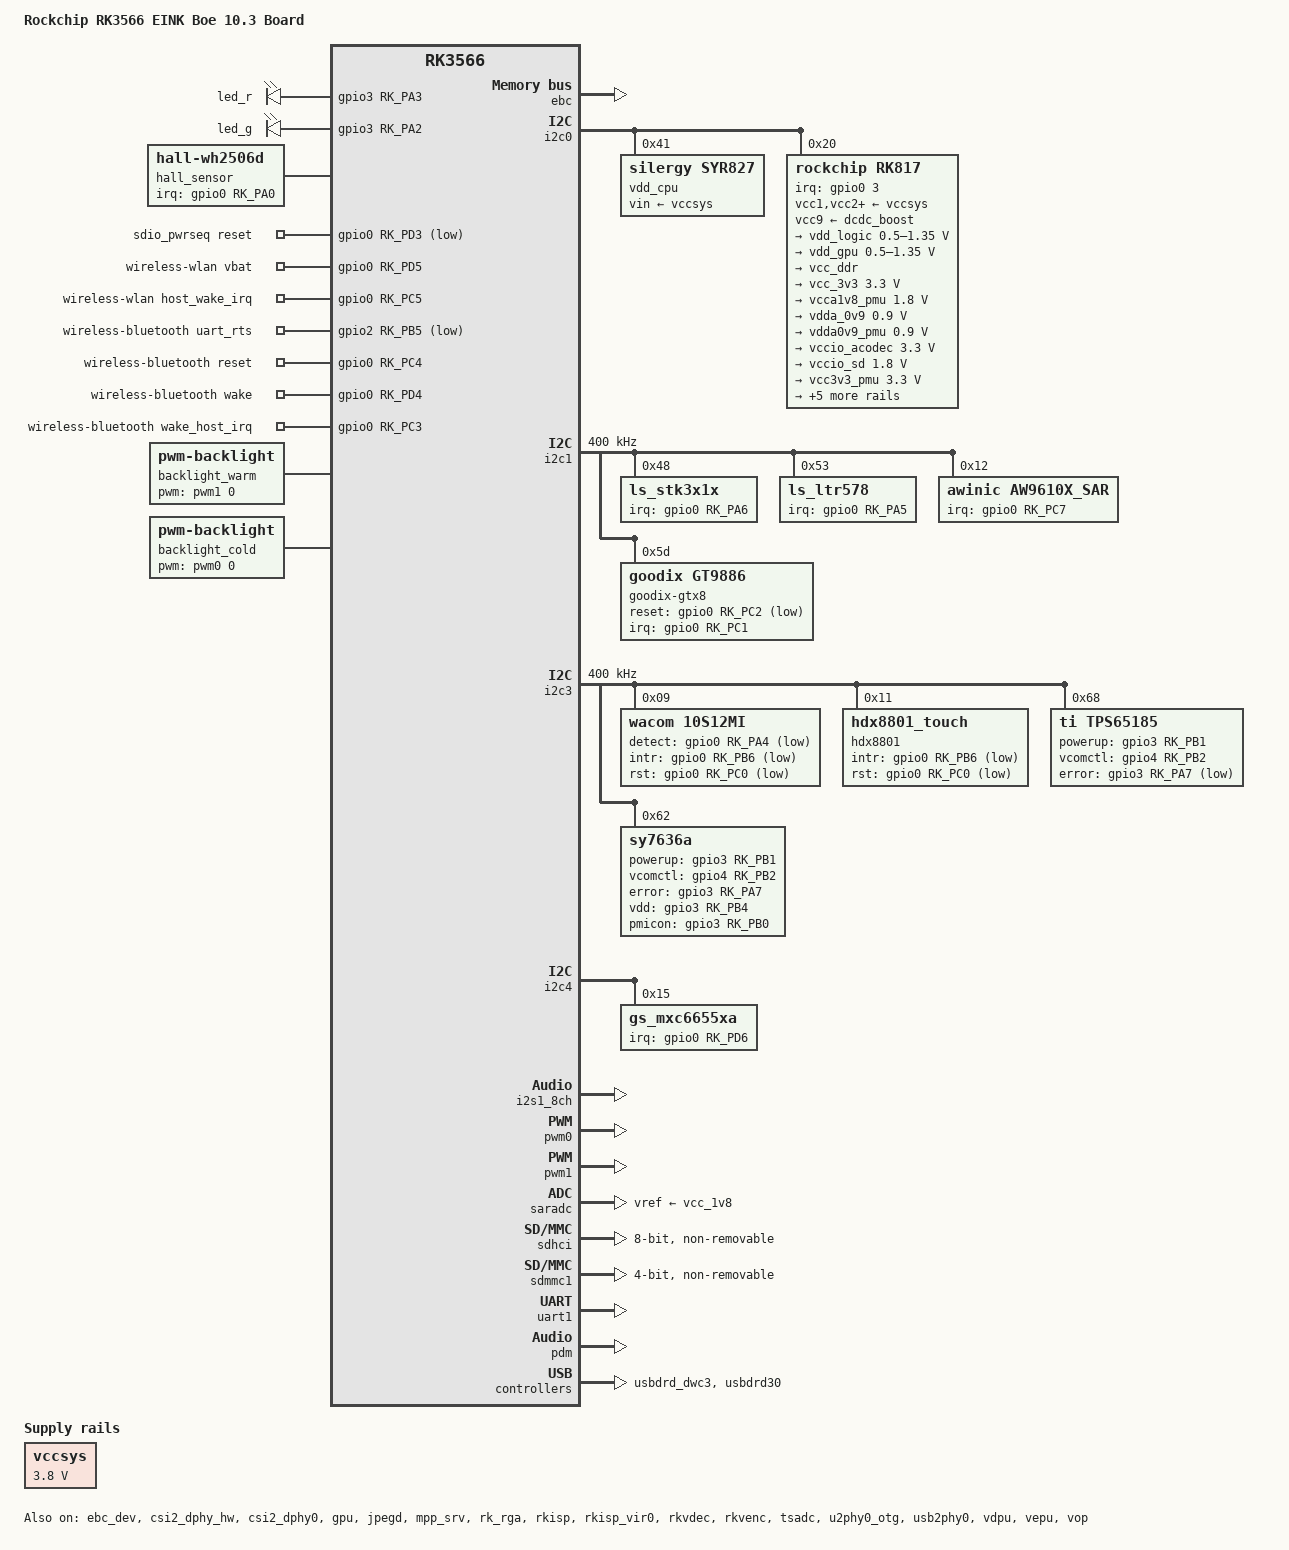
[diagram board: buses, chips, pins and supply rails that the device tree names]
// SPDX-License-Identifier: (GPL-2.0+ OR MIT)
/*
 * Copyright (c) 2020 Rockchip Electronics Co., Ltd.
 *
 */

/dts-v1/;

#include <dt-bindings/gpio/gpio.h>
#include <dt-bindings/pinctrl/rockchip.h>
#include <dt-bindings/input/rk-input.h>
#include <dt-bindings/sensor-dev.h>
#include <dt-bindings/display/drm_mipi_dsi.h>
#include <dt-bindings/usb/pd.h>
#include "rk3566.dtsi"
#include "rk3568-android.dtsi"
#include "rk3566-eink.dtsi"

/ {
    model = "Rockchip RK3566 EINK Boe 10.3 Board";
    compatible = "rockchip,rk3566-rk817-eink", "rockchip,rk3566";

    ramoops_mem: ramoops_mem {
        reg = <0x0 0x110000 0x0 0xf0000>;
        reg-names = "ramoops_mem";
    };

    ramoops {
        compatible = "ramoops";
        record-size = <0x0 0x20000>;
        console-size = <0x0 0x80000>;
        ftrace-size = <0x0 0x00000>;
        pmsg-size = <0x0 0x50000>;
        memory-region = <&ramoops_mem>;
    };

    charge_animation: charge-animation {
        status = "okay";
        compatible = "rockchip,uboot-charge";
        rockchip,uboot-charge-on = <1>;
        rockchip,android-charge-on = <0>;
        rockchip,uboot-low-power-voltage = <3350>;
        rockchip,screen-on-voltage = <3400>;
        rockchip,auto-wakeup-interval = <10>;
    };

    adc_keys: adc-keys {
        status = "disabled";
        compatible = "adc-keys";
        io-channels = <&saradc 0>;
        io-channel-names = "buttons";
        keyup-threshold-microvolt = <1800000>;
        poll-interval = <100>;

        vol-up-key {
            label = "volume up";
            linux,code = <KEY_VOLUMEUP>;
            press-threshold-microvolt = <9000>;
        };

        vol-down-key {
            label = "volume down";
            linux,code = <KEY_VOLUMEDOWN>;
            press-threshold-microvolt = <235000>;
        };
    };

    gpio_keys: gpio-keys {
        status = "disabled";
        compatible = "gpio-keys";
        autorepeat;

        BACK {
            label = "GPIO Key Back";
            debounce-interval = <10>;
            interrupt-parent = <&gpio0>;
            interrupts = <8 IRQ_TYPE_LEVEL_LOW>;
            linux,input-type = <EV_KEY>;
            linux,code = <KEY_BACK>;
        };
    };

    leds: gpio-leds {
        status = "okay";
        compatible = "gpio-leds";
        led@1 {
            gpios = <&gpio3 RK_PA3 GPIO_ACTIVE_HIGH>;
            linux,default-trigger = "battery-charging";
            label = "led_r";
            retain-state-suspended;
        };

        led@2 {
            gpios = <&gpio3 RK_PA2 GPIO_ACTIVE_HIGH>;
            linux,default-trigger = "battery-charging-or-full";
            label = "led_g";
            default-state = "off";
        };

    };

    hall_sensor: hall-wh2506d {
        status = "okay";
        compatible = "hall-wh2506d";
        pinctrl-names = "default";
        pinctrl-0 = <&hall_irq_gpio>;
        irq-gpio = <&gpio0 RK_PA0 IRQ_TYPE_EDGE_BOTH>;
        hall-active = <1>;
    };

    vccsys: vccsys {
        compatible = "regulator-fixed";
        regulator-name = "vcc3v8_sys";
        regulator-always-on;
        regulator-boot-on;
        regulator-min-microvolt = <3800000>;
        regulator-max-microvolt = <3800000>;
    };

    rk817_sound: rk817-sound {
        compatible = "simple-audio-card";
        simple-audio-card,format = "i2s";
        simple-audio-card,name = "rockchip,rk817-codec";
        simple-audio-card,mclk-fs = <256>;

        simple-audio-card,cpu {
            sound-dai = <&i2s1_8ch>;
        };
        simple-audio-card,codec {
            sound-dai = <&rk817_codec>;
        };
    };

    pdmics: dummy-codec {
        status = "okay";
        compatible = "rockchip,dummy-codec";
        #sound-dai-cells = <0>;
    };

    pdm_mic_array: pdm-mic-array {
        status = "okay";
        compatible = "simple-audio-card";
        simple-audio-card,name = "rockchip,pdm-mic-array";
        simple-audio-card,cpu {
            sound-dai = <&pdm>;
        };
        simple-audio-card,codec {
            sound-dai = <&pdmics>;
        };
    };

    sdio_pwrseq: sdio-pwrseq {
        compatible = "mmc-pwrseq-simple";
        clocks = <&rk817 1>;
        clock-names = "ext_clock";
        pinctrl-names = "default";
        pinctrl-0 = <&wifi_enable_h>;

        /*
         * On the module itself this is one of these (depending
         * on the actual card populated):
         * - SDIO_RESET_L_WL_REG_ON
         * - PDN (power down when low)
         */
        post-power-on-delay-ms = <200>;
        reset-gpios = <&gpio0 RK_PD3 GPIO_ACTIVE_LOW>;
    };

    wireless-wlan {
        status = "okay";
        compatible = "wlan-platdata";
        rockchip,grf = <&grf>;
        wifi_chip_type = "";
        pinctrl-names = "default";
        pinctrl-0 = <&wifi_gpio>;
        WIFI,vbat_gpio = <&gpio0 RK_PD5 GPIO_ACTIVE_HIGH>;
        WIFI,host_wake_irq = <&gpio0 RK_PC5 GPIO_ACTIVE_HIGH>;
    };

    wireless-bluetooth {
        status = "okay";
        compatible = "bluetooth-platdata";
        clocks = <&rk817 1>;
        clock-names = "ext_clock";
        wifi-bt-power-toggle;
        uart_rts_gpios = <&gpio2 RK_PB5 GPIO_ACTIVE_LOW>;
        pinctrl-names = "default", "rts_gpio";
        pinctrl-0 = <&uart1m0_rtsn>, <&bt_reset_gpio>, <&bt_wake_gpio>, <&bt_irq_gpio>;
        pinctrl-1 = <&uart1_gpios>;
        BT,reset_gpio = <&gpio0 RK_PC4 GPIO_ACTIVE_HIGH>;
        BT,wake_gpio = <&gpio0 RK_PD4 GPIO_ACTIVE_HIGH>;
        BT,wake_host_irq = <&gpio0 RK_PC3 GPIO_ACTIVE_HIGH>;
    };

#if 0
     backlight_warm: backlight-warm {
         status = "okay";
         compatible = "pwm-backlight";
         pwms = <&pwm1 0 25000 0>;
 
         brightness-levels = <
             0	0	0	0	18	100	100	100	100	101	101
 			101	102	102	102	103	103	104	105	105	106 
 			106	107	108	113	118	125	133	141	150	155 
 			160	165	173	181	190	198	206	215	235	255 
 			275	300	325	350	371	392	415	436	457	480 
 			505	530	555	581	608	635	663	691	720	770 
 			820	870	910	950	990	1046 1103 1160 1276 1393 
 			1510 1580 1650 1720 1813 1906 2000 2070 2140 2210 
 			2456 2703 2950 3095	3240 3385 3503 3621 3750 3900 
 			4050 4200 4490 4780	5070 5363 5656 5950 6300 6650 
 			7000 7473 7946 8420 9146 9872 10600
         >;
         default-brightness-level = <0>;
     };
 
      backlight_cold: backlight-cold {
         status = "okay";
         compatible = "pwm-backlight";
         pwms = <&pwm0 0 25000 0>;
         brightness-levels = <
             0 0	0 0 18 100	101	101	102	102	103
 			104	105	106	107	108	109	110	111	113	115
 			118	121	125	133	141	150	161	172	185	196
 			208	220	236	253	270	287	304	321	341	361
 			381	401	421	441	464	487	510	535	560	585
 			610	635	660	686	712	740	783	826	870	916
 			963	1010 1056 1103 1150 1220 1290 1360 1430 1500
 			1570 1640 1710 1780	1850 1920 1990 2090 2190 2290
 			2440 2590 2740 2880 3020 3160 3306 3453 3600 3756
 			3913 4070 4310 4550 4790 5030 5270 5510 5906 6269
 			6700 7200 7700 8200 9000 9800 10600
         >;
         default-brightness-level = <0>;
     };
#else
 	backlight_warm: backlight-warm {
         status = "okay";
         compatible = "pwm-backlight";
         pwms = <&pwm1 0 25000 0>;
 		brightness-levels = <
			0	18	100	100	101	101	101 102	102	103	103
			104	105	105	106	108	110 112	116	120	124
			129	134	139	144	149	154 158	162	166	173
			180	187	194	202	210	238 266	294	305	316
			327	346	366	385	403	421 440	463	487	510
			537	564	591	618	645	672 705	738	771	822
			873	924	962	1000 1038 1113 1188	1263 1370 1477
			1584 1639 1695 1750 1839 1927 2016 2120	2224 2328
			2545 2761 2978 3129 3281 3432 3539 3646 3754 3922
			4091 4260 4568 4876 5184 5603 6023 6442 6865 7287
			7710 8130 8550 8970 9513 10057 10600
         >;
         default-brightness-level = <0>;
    };
 
      backlight_cold: backlight-cold {
      	status = "okay";
         compatible = "pwm-backlight";
         pwms = <&pwm0 0 25000 0>;
	 brightness-levels = <
			0	18	100	100	101	101	101	102	102	103	103
			104	105	106	107	108	109 110	115	120	125
			132	140	147	157	167	177 189	201	213	232
			251	270	286	302	318	332 346	360	377	395
			412	432	451	471	493	515 537	562	587	612
			643	674	705	737	769	801 850	899	948	984
			1020 1056 1116 1176 1236 1304 1372 1440 1510 1580
			1650 1707 1764 1821 1920 2019 2118 2200 2282 2364
			2540 2716 2892 3019 3147 3274 3413 3551 3690 3834
			3978 4122 4386 4650 4914 5266 5618 5970 6463 6956
			7449 7900 8351 8802 9401 10001 10600
         >;
       default-brightness-level = <0>;
     };
#endif
};

&ebc {
    /* clock rate 1000M/n, (n=1~32) */
    assigned-clocks = <&cru CPLL_333M>, <&cru DCLK_EBC>;
    assigned-clock-rates = <34000000>, <34000000>;
    status = "okay";
};

&ebc_dev {
    pmic = <&sy7636a>;
    //backlight = <&backlight>;
    /* ES103TC1 */
    panel,width = <1872>;
    panel,height = <1404>;
    panel,vir_width = <1872>;
    panel,vir_height = <1404>;
    panel,sdck = <34000000>;
    panel,lsl = <18>;
    panel,lbl = <17>;
    panel,ldl = <234>;
    panel,lel = <15>;  // 470ns
    panel,gdck-sta = <34>;
    panel,lgonl = <192>;
    panel,fsl = <1>;
    panel,fbl = <4>;
    panel,fdl = <1404>;
    panel,fel = <2>;
    panel,mirror = <1>;
    panel,panel_16bit = <1>;
    panel,panel_color = <0>;
    panel,width-mm = <210>;
    panel,height-mm = <157>;
    panel,dpi = <220>;
    panel,vcom-mv = <1670>;
    status = "okay";
};

// 20220523,hsl fix: 6*fb_size + 2*lcd_size + 512K 
// 10.3: 6*2628288 + 2*657088 + 512*1024= 17608192 = 0X10CAE00
&display_reserved {
    reg = <0x0 0x10900000 0x0 0x10d0000>;
};

&cpu0 {
    cpu-supply = <&vdd_cpu>;
};

&csi2_dphy_hw {
    status = "okay";
};

&csi2_dphy0 {
    status = "okay";

    ports {
        #address-cells = <1>;
        #size-cells = <0>;
        port@0 {
            reg = <0>;
            #address-cells = <1>;
            #size-cells = <0>;

            mipi_in_ucam0: endpoint@0 {
                reg = <0>;
                //remote-endpoint = <&gc5035_out>;
                data-lanes = <1 2>;
            };
        };
        port@1 {
            reg = <1>;
            #address-cells = <1>;
            #size-cells = <0>;

            csidphy0_out: endpoint@0 {
                reg = <0>;
                remote-endpoint = <&isp0_in>;
            };
        };
    };
};

&gpu {
    mali-supply = <&vdd_gpu>;
    status = "okay";
};

&hdmi {
    status = "disabled";
};

&hdmi_in_vp0 {
    status = "disabled";
};

&hdmi_in_vp1 {
    status = "disabled";
};

&i2c0 {
    status = "okay";

    vdd_cpu: syr827@41 {
        status = "okay";
        compatible = "silergy,syr827";
        reg = <0x41>;
        vin-supply = <&vccsys>;
        regulator-compatible = "fan53555-reg";
        regulator-name = "vdd_cpu";
        regulator-min-microvolt = <712500>;
        regulator-max-microvolt = <1390000>;
        regulator-init-microvolt = <900000>;
        regulator-ramp-delay = <2300>;
        fcs,suspend-voltage-selector = <0>;
        regulator-initial-mode = <0x2>;
        regulator-boot-on;
        regulator-always-on;
        regulator-state-mem {
            regulator-off-in-suspend;
            regulator-suspend-microvolt = <1100000>;
            regulator-changeable-in-suspend;
        };
    };

    rk817: pmic@20 {
        compatible = "rockchip,rk817";
        reg = <0x20>;
        interrupt-parent = <&gpio0>;
        interrupts = <3 IRQ_TYPE_LEVEL_LOW>;

        pinctrl-names = "default";
        //pinctrl-names = "default", "pmic-sleep", "pmic-power-off", "pmic-reset";
        pinctrl-0 = <&pmic_int>;
        //pinctrl-1 = <&soc_slppin_slp>, <&rk817_slppin_slp>;
        //pinctrl-2 = <&soc_slppin_gpio>, <&rk817_slppin_pwrdn>;
        //pinctrl-3 = <&soc_slppin_gpio>, <&rk817_slppin_rst>;
        rockchip,system-power-controller;
        wakeup-source;
        #clock-cells = <1>;
        clock-output-names = "rk808-clkout1", "rk808-clkout2";
        //fb-inner-reg-idxs = <2>;
        /* 1: rst regs (default in codes), 0: rst the pmic */
        pmic-reset-func = <0>;
        /* not save the PMIC_POWER_EN register in uboot */
        not-save-power-en = <1>;
        vcc1-supply = <&vccsys>;
        vcc2-supply = <&vccsys>;
        vcc3-supply = <&vccsys>;
        vcc4-supply = <&vccsys>;
        vcc5-supply = <&vccsys>;
        vcc6-supply = <&vccsys>;
        vcc7-supply = <&vccsys>;
        vcc8-supply = <&vccsys>;
        vcc9-supply = <&dcdc_boost>;

        pwrkey {
            status = "okay";
        };

        pinctrl_rk8xx: pinctrl_rk8xx {
            gpio-controller;
            #gpio-cells = <2>;

            rk817_slppin_null: rk817_slppin_null {
                pins = "gpio_slp";
                function = "pin_fun0";
            };

            rk817_slppin_slp: rk817_slppin_slp {
                pins = "gpio_slp";
                function = "pin_fun1";
            };

            rk817_slppin_pwrdn: rk817_slppin_pwrdn {
                pins = "gpio_slp";
                function = "pin_fun2";
            };

            rk817_slppin_rst: rk817_slppin_rst {
                pins = "gpio_slp";
                function = "pin_fun3";
            };
        };

        regulators {
            vdd_logic: DCDC_REG1 {
                regulator-always-on;
                regulator-boot-on;
                regulator-min-microvolt = <500000>;
                regulator-max-microvolt = <1350000>;
                regulator-init-microvolt = <900000>;
                regulator-ramp-delay = <6001>;
                regulator-initial-mode = <0x2>;
                regulator-name = "vdd_logic";
                regulator-state-mem {
                    regulator-off-in-suspend;
                    regulator-suspend-microvolt = <900000>;
                    regulator-changeable-in-suspend;
                };
            };

            vdd_gpu: DCDC_REG2 {
                regulator-always-on;
                regulator-boot-on;
                regulator-min-microvolt = <500000>;
                regulator-max-microvolt = <1350000>;
                regulator-init-microvolt = <900000>;
                regulator-ramp-delay = <6001>;
                regulator-initial-mode = <0x2>;
                regulator-name = "vdd_gpu";
                    regulator-state-mem {
                    regulator-off-in-suspend;
                    regulator-changeable-in-suspend;
                };
            };

            vcc_ddr: DCDC_REG3 {
                regulator-always-on;
                regulator-boot-on;
                regulator-initial-mode = <0x2>;
                regulator-name = "vcc_ddr";
                regulator-state-mem {
                    regulator-on-in-suspend;
                };
            };

            vcc_3v3: DCDC_REG4 {
                regulator-always-on;
                regulator-boot-on;
                regulator-min-microvolt = <3300000>;
                regulator-max-microvolt = <3300000>;
                regulator-initial-mode = <0x2>;
                regulator-name = "vcc_3v3";
                regulator-state-mem {
                    regulator-off-in-suspend;
                    regulator-changeable-in-suspend;
                };
            };

            vcca1v8_pmu: LDO_REG1 {
                regulator-always-on;
                regulator-boot-on;
                regulator-min-microvolt = <1800000>;
                regulator-max-microvolt = <1800000>;
                regulator-name = "vcca1v8_pmu";
                regulator-state-mem {
                    regulator-off-in-suspend;
                    regulator-suspend-microvolt = <1800000>;
                    regulator-changeable-in-suspend;
                };
            };

            vdda_0v9: LDO_REG2 {
                regulator-always-on;
                regulator-boot-on;
                regulator-min-microvolt = <900000>;
                regulator-max-microvolt = <900000>;
                regulator-name = "vdda_0v9";
                regulator-state-mem {
                    regulator-off-in-suspend;
                    regulator-changeable-in-suspend;
                };
            };

            vdda0v9_pmu: LDO_REG3 {
                regulator-always-on;
                regulator-boot-on;
                regulator-min-microvolt = <900000>;
                regulator-max-microvolt = <900000>;
                regulator-name = "vdda0v9_pmu";
                regulator-state-mem {
                    regulator-off-in-suspend;
                    regulator-suspend-microvolt = <900000>;
                    regulator-changeable-in-suspend;
                };
            };

            vccio_acodec: LDO_REG4 {
                regulator-always-on;
                regulator-boot-on;
                regulator-min-microvolt = <3300000>;
                regulator-max-microvolt = <3300000>;
                regulator-name = "vccio_acodec";
                regulator-state-mem {
                    regulator-off-in-suspend;
                    regulator-changeable-in-suspend;
                };
            };

            vccio_sd: LDO_REG5 {
                regulator-always-on;
                regulator-boot-on;
                regulator-min-microvolt = <1800000>;
                regulator-max-microvolt = <1800000>;
                regulator-name = "vccio_sd";
                regulator-state-mem {
                    regulator-off-in-suspend;
                    regulator-changeable-in-suspend;
                };
            };

            vcc3v3_pmu: LDO_REG6 {
                regulator-always-on;
                regulator-boot-on;
                regulator-min-microvolt = <3300000>;
                regulator-max-microvolt = <3300000>;
                regulator-name = "vcc3v3_pmu";
                regulator-state-mem {
                    regulator-on-in-suspend;
                    regulator-suspend-microvolt = <3000000>;
                    regulator-changeable-in-suspend;
                };
            };

            vcc_1v8: LDO_REG7 {
                regulator-always-on;
                regulator-boot-on;
                regulator-min-microvolt = <1800000>;
                regulator-max-microvolt = <1800000>;
                regulator-name = "vcc_1v8";
                regulator-state-mem {
                    regulator-off-in-suspend;
                    regulator-changeable-in-suspend;
                };
            };

            vcc1v8_dvp: LDO_REG8 {
                regulator-always-on;
                regulator-min-microvolt = <1800000>;
                regulator-max-microvolt = <1800000>;
                regulator-name = "vcc1v8_dvp";
                regulator-state-mem {
                    regulator-off-in-suspend;
                    regulator-changeable-in-suspend;
                };
            };

            sleep_sta_ctl: LDO_REG9 {
                regulator-name = "sleep_sta_ctl";
                regulator-state-mem {
                    regulator-off-in-suspend;
                    regulator-suspend-microvolt = <3300000>;
                    regulator-changeable-in-suspend;
                };
            };

            dcdc_boost: BOOST {
                regulator-always-on;
                regulator-boot-on;
                regulator-min-microvolt = <4700000>;
                regulator-max-microvolt = <5400000>;
                regulator-name = "boost";
                regulator-state-mem {
                    regulator-off-in-suspend;
                    regulator-changeable-in-suspend;
                };
            };

            otg_switch: OTG_SWITCH {
                regulator-name = "otg_switch";
                regulator-state-mem {
                    regulator-off-in-suspend;
                    regulator-changeable-in-suspend;
                };
            };
        };

        battery {
            compatible = "rk817,battery";
#if 0
            ocv_table = <
                3400 3513 3578 3687 3734 3752 3763
                3766 3771 3784 3804 3836 3885 3925
                3962 4005 4063 4114 4169 4227 4303>;
#endif
            ocv_table = <
                3400 3660 3683 3712 3739 3761 3780
                3794 3811 3831 3857 3902 3949 3990
                4034 4083 4135 4191 4249 4307 4374>;
                //4287 4310>; 4307 4374
            tempadc_table = <
                273 261 251 240 230 159 153 147 141
                136 53 51 49 47 46 44 43 42 40>;
            temp_table = <0 1 2 3 4 13 14 15 16 17 43 44 45 46 47 48 49 50 51>;
            design_capacity = <3500>;
            design_qmax = <3850>;
            bat_res = <100>;
            sleep_enter_current = <150>;
            sleep_exit_current = <180>;
            sleep_filter_current = <100>;
            power_off_thresd = <3450>;
            zero_algorithm_vol = <3850>;
            max_soc_offset = <60>;
            monitor_sec = <5>;
            sample_res = <10>;
            virtual_power = <0>;
            low_power_sleep = <1>;
			max_chrg_voltage = <4400>; //for uboot
        };

        charger {
            compatible = "rk817,charger";
            min_input_voltage = <4500>;
            max_input_current = <2000>;
            max_chrg_current = <2000>;
            max_chrg_voltage = <4400>;
            chrg_term_mode = <0>;
            chrg_finish_cur = <175>;
            virtual_power = <0>;
            dc_det_adc = <0>;
            extcon = <&usb2phy0>;
            gate_function_disable = <1>;
        };

        rk817_codec: codec {
            #sound-dai-cells = <0>;
            compatible = "rockchip,rk817-codec";
            clocks = <&cru I2S1_MCLKOUT>;
            clock-names = "mclk";
            assigned-clocks = <&cru I2S1_MCLKOUT>, <&cru I2S1_MCLK_TX_IOE>;
            assigned-clock-rates = <12288000>;
            assigned-clock-parents = <&cru I2S1_MCLKOUT_TX>, <&cru I2S1_MCLKOUT_TX>;
            pinctrl-names = "default";
            pinctrl-0 = <&i2s1m0_mclk>;
            hp-volume = <20>;
            spk-volume = <3>;
            out-l2spk-r2hp;
            spk-ctl-gpios = <&gpio1 RK_PB1 GPIO_ACTIVE_HIGH>;
            status = "okay";
        };
    };
};

&i2c1 {
    status = "okay";
    clock-frequency = <400000>;

    ls_stk3x1x: light@48 {
        status = "okay";
        compatible = "ls_stk3x1x";
        reg = <0x48>;
        type = <SENSOR_TYPE_LIGHT>;
        pinctrl-names = "default";
        pinctrl-0 = <&stk3x1x_irq_gpio>;
        irq-gpio = <&gpio0 RK_PA6 IRQ_TYPE_LEVEL_LOW>;
        irq_enable = <0>;
        als_threshold_high = <100>;
        als_threshold_low = <10>;
        als_ctrl_gain = <2>; /* 0:x1 1:x4 2:x16 3:x64 */
        poll_delay_ms = <150>;
    };

    ls_ltr578: light@53 {
        status = "okay";
        compatible = "ls_ltr578";
        reg = <0x53>;
        type = <SENSOR_TYPE_LIGHT>;
        pinctrl-names = "default";
        pinctrl-0 = <&ltr578_irq_gpio>;
        irq-gpio = <&gpio0 RK_PA5 IRQ_TYPE_LEVEL_LOW>;
        irq_enable = <0>;
        poll_delay_ms = <100>;
    };

    aw9610x_sar: pressure@12 {
        status = "okay";
        compatible = "awinic,aw9610x_sar";
        reg = <0x12>;
        pinctrl-names = "default";
        pinctrl-0 = <&aw9610x_irq_gpio>;
        irq-gpio = <&gpio0 RK_PC7 IRQ_TYPE_LEVEL_LOW>;
        aw9610x,using-firmware;
        channel_use_flag = <0x1f>;
        sar-num = < 0 >;
    };

    usbc0: et7303@4e {
        status = "disabled";
        compatible = "etek,et7303";
        reg = <0x4e>;
        interrupt-parent = <&gpio0>;
        interrupts = <22 IRQ_TYPE_LEVEL_LOW>;
        pinctrl-names = "default";
        pinctrl-0 = <&et7303_int>;

        usb_con: connector {
            data-role = "dual";
            power-role = "dual";
            try-power-role = "sink";
            source-pdos = <PDO_FIXED(5000, 2000, PDO_FIXED_USB_COMM)>;
            sink-pdos = <PDO_FIXED(5000, 2000, PDO_FIXED_USB_COMM)>;
            op-sink-microwatt = <10000000>;
        };
    };

    goodix-gtx8@5d {
         compatible = "goodix,gt9886";
         reg = <0x5d>;
         status = "okay";
         pinctrl-names = "default";
         pinctrl-0 = <&tp_gpio>;
         goodix,reset-gpio = <&gpio0 RK_PC2 GPIO_ACTIVE_LOW>;
         goodix,irq-gpio = <&gpio0 RK_PC1 IRQ_TYPE_LEVEL_LOW>;
         goodix,irq-flags = <2>; /* 1:trigger rising, 2:trigger falling;*/
         goodix,panel-max-x = <1440>;
         goodix,panel-max-y = <1872>;
         goodix,panel-max-w = <255>;
         //goodix,swap-axis;
         goodix,x2x;
         tp-support-wakeup;
    };
};

&i2c3 {
    status = "okay";
    clock-frequency = <400000>;
    pinctrl-names = "default";
    pinctrl-0 = <&i2c3m1_xfer>;

    wacom: wacom@09 {
        status = "okay";
        compatible = "wacom,10S12MI";
        reg = <0x09>;
        hid-descr-addr = <0x0001>;
        pinctrl-names = "default";
        pinctrl-0 = <&emr_gpio>;
        gpio_detect = <&gpio0 RK_PA4 GPIO_ACTIVE_LOW>;
        gpio_intr = <&gpio0 RK_PB6 GPIO_ACTIVE_LOW>;
        gpio_rst = <&gpio0 RK_PC0 GPIO_ACTIVE_LOW>;
        revert_x = <1>;
        revert_y = <1>;
        xy_exchange = <0>;
        wacom-support-wakeup;
    };

    hdx8801: hdx8801@11 {
        status = "okay";
        compatible = "hdx8801_touch";
        reg = <0x11>;
        pinctrl-names = "default";
        pinctrl-0 = <&emr_gpio>;
        gpio_intr = <&gpio0 RK_PB6 GPIO_ACTIVE_LOW>;
        gpio_rst = <&gpio0 RK_PC0 GPIO_ACTIVE_LOW>;
        revert_x = <0>;
        revert_y = <1>;
        xy_exchange = <0>;
        //hdx-support-wakeup;
    };

    tps65185: tps65185@68 {
        status = "okay";
        compatible = "ti,tps65185";
        reg = <0x68>;
        pinctrl-names = "default";
        pinctrl-0 = <&einkpmic_gpio>;
        powerup-gpios = <&gpio3 RK_PB1 GPIO_ACTIVE_HIGH>;
        vcomctl-gpios = <&gpio4 RK_PB2 GPIO_ACTIVE_HIGH>;
        error-gpios = <&gpio3 RK_PA7 GPIO_ACTIVE_LOW>;
    };

    sy7636a: sy7636a@62 {
        status = "okay";
        compatible = "sy7636a";
        reg = <0x62>;
        pinctrl-names = "default";
        pinctrl-0 = <&einkpmic_gpio>;
        powerup-gpios = <&gpio3 RK_PB1 GPIO_ACTIVE_HIGH>;
        vcomctl-gpios = <&gpio4 RK_PB2 GPIO_ACTIVE_HIGH>;
        error-gpios = <&gpio3 RK_PA7 GPIO_ACTIVE_HIGH>;
        vdd-gpios = <&gpio3 RK_PB4 GPIO_ACTIVE_HIGH>;
        pmicon-gpios  = <&gpio3 RK_PB0 GPIO_ACTIVE_HIGH>;
    };
};

&i2c4 {
    status = "okay";
    pinctrl-names = "default";
    pinctrl-0 = <&i2c4m1_xfer>;

    gs_mxc6655xa: gsensor@15 {
        status = "okay";
        compatible = "gs_mxc6655xa";
        reg = <0x15>;
        pinctrl-names = "default";
        pinctrl-0 = <&mxc6655xa_irq_gpio>;
        irq-gpio = <&gpio0 RK_PD6 IRQ_TYPE_LEVEL_LOW>;
        irq_enable = <0>;
        poll_delay_ms = <20>;
        type = <SENSOR_TYPE_ACCEL>;
        power-off-in-suspend = <1>;
        layout = <8>;
    };
};

&i2c5 {
    status = "disabled";
    pinctrl-names = "default";
    pinctrl-0 = <&i2c5m1_xfer>;
};

&i2s0_8ch {
    status = "disabled";
};

&i2s1_8ch {
    status = "okay";
    rockchip,clk-trcm = <1>;
    pinctrl-names = "default";
    pinctrl-0 = <&i2s1m0_sclktx &i2s1m0_lrcktx &i2s1m0_sdi0 &i2s1m0_sdo0>;
};

&spi3 {
    status = "disabled";
};

&jpegd {
    status = "okay";
};

&jpegd_mmu {
    status = "okay";
};

&video_phy0 {
    status = "disabled";
};

&mpp_srv {
    status = "okay";
};

&nandc0 {
    status = "disabled";
};

&pinctrl {
    pmic {
        pmic_int: pmic_int {
            rockchip,pins =
                <0 RK_PA3 RK_FUNC_GPIO &pcfg_pull_up>;
        };

        soc_slppin_gpio: soc_slppin_gpio {
            rockchip,pins =
                <0 RK_PA2 RK_FUNC_GPIO &pcfg_output_low_pull_down>;
        };

        soc_slppin_slp: soc_slppin_slp {
            rockchip,pins =
                <0 RK_PA2 1 &pcfg_pull_up>;
        };

        soc_slppin_rst: soc_slppin_rst {
            rockchip,pins =
                <0 RK_PA2 2 &pcfg_pull_none>;
        };
    };

    eink_pmic {
        einkpmic_gpio: einkpmic-gpio {
            rockchip,pins =
                <3 RK_PA7 RK_FUNC_GPIO &pcfg_pull_none>,
                <3 RK_PB0 RK_FUNC_GPIO &pcfg_pull_none>,
                <3 RK_PB1 RK_FUNC_GPIO &pcfg_pull_down>,
                <3 RK_PB4 RK_FUNC_GPIO &pcfg_pull_none>,
                <4 RK_PB2 RK_FUNC_GPIO &pcfg_pull_none>;
        };
    };

    sdio-pwrseq {
        wifi_enable_h: wifi-enable-h {
            rockchip,pins = <0 RK_PD3 RK_FUNC_GPIO &pcfg_pull_none>;
        };
    };

    wireless-wlan {
        wifi_gpio: wifi-gpio {
            rockchip,pins =
                <0 RK_PC5 RK_FUNC_GPIO &pcfg_pull_none>,
                <0 RK_PD5 RK_FUNC_GPIO &pcfg_pull_none>;
        };
    };

    wireless-bluetooth {
        uart1_gpios: uart1-gpios {
            rockchip,pins = <2 RK_PB5 RK_FUNC_GPIO &pcfg_pull_none>;
        };

        bt_reset_gpio: bt-reset-gpio {
            rockchip,pins = <0 RK_PC4 RK_FUNC_GPIO &pcfg_pull_none>;
        };

        bt_wake_gpio: bt-wake-gpio {
            rockchip,pins = <0 RK_PD4 RK_FUNC_GPIO &pcfg_pull_none>;
        };

        bt_irq_gpio: bt-irq-gpio {
            rockchip,pins = <0 RK_PC3 RK_FUNC_GPIO &pcfg_pull_up>;
        };
    };

    mxc6655xa {
        mxc6655xa_irq_gpio: mxc6655xa-irq-gpio {
            rockchip,pins = <0 RK_PD6 RK_FUNC_GPIO &pcfg_pull_none>;
        };
    };

    sensors {
        hall_irq_gpio: hall-irq-gpio {
            rockchip,pins = <0 RK_PA0 RK_FUNC_GPIO  &pcfg_pull_up>;
        };
        ltr578_irq_gpio: ltr578-irq-gpio {
            rockchip,pins = <0 RK_PA5 RK_FUNC_GPIO  &pcfg_pull_none>;
        };
        stk3x1x_irq_gpio: stk3x1x-irq-gpio {
            rockchip,pins = <0 RK_PA6 RK_FUNC_GPIO  &pcfg_pull_none>;
        };
        aw9610x_irq_gpio: aw9610x-irq-gpio {
            rockchip,pins = <0 RK_PC7 RK_FUNC_GPIO  &pcfg_pull_up>;
        };
    };

    typec {
        et7303_int: et7303-int {
            rockchip,pins = <0 RK_PC6 RK_FUNC_GPIO &pcfg_pull_none>;
        };
    };

    wacom {
        emr_gpio: emr-gpio {
            rockchip,pins =
                <0 RK_PA4 RK_FUNC_GPIO &pcfg_pull_up>,
                <0 RK_PB6 RK_FUNC_GPIO &pcfg_pull_up>,
                <0 RK_PC0 RK_FUNC_GPIO &pcfg_pull_up>;
        };
    };

    goodix {
        tp_gpio: tp-gpio {
            rockchip,pins =
                <0 RK_PC2 RK_FUNC_GPIO &pcfg_pull_up>,
                <0 RK_PC1 RK_FUNC_GPIO &pcfg_pull_up>;
        };
    };
};

&xin32k {
    pinctrl-names = "default";
    pinctrl-0 = <&clk32k_out1>;
};

&pmu_io_domains {
    status = "okay";
    pmuio1-supply = <&vcc3v3_pmu>;
    pmuio2-supply = <&vcc3v3_pmu>;
    vccio1-supply = <&vccio_acodec>;    // 3.3v
    vccio3-supply = <&vcc_3v3>;
    vccio4-supply = <&vcca1v8_pmu>;
    vccio5-supply = <&vcc_3v3>;
    vccio6-supply = <&vcc_3v3>;
    vccio7-supply = <&vcc_3v3>;
};

&pwm0 {
    status = "okay";
};

&pwm1 {
    status = "okay";
    pinctrl-names = "active";
    pinctrl-0 = <&pwm1m1_pins>;
};

&rk_rga {
    status = "okay";
};

&rkisp {
    status = "okay";
};

&rkisp_mmu {
    status = "okay";
};

&rkisp_vir0 {
    status = "okay";

    port {
        #address-cells = <1>;
        #size-cells = <0>;

        isp0_in: endpoint@0 {
            reg = <0>;
            remote-endpoint = <&csidphy0_out>;
        };
    };
};

&rkvdec {
    status = "okay";
};

&rkvdec_mmu {
    status = "okay";
};

&rkvenc {
    status = "okay";
};

&rkvenc_mmu {
    status = "okay";
};

&rockchip_suspend {
    status = "okay";
    rockchip,sleep-mode-config = <
        (0
        | RKPM_SLP_ARMOFF_LOGOFF
        | RKPM_SLP_CENTER_OFF
        | RKPM_SLP_HW_PLLS_OFF
        | RKPM_SLP_PMUALIVE_32K
        | RKPM_SLP_PMIC_LP
        | RKPM_SLP_32K_PVTM
        )
    >;
    rockchip,regulator-off-in-mem-lite =
        <&vdd_cpu>, <&vdd_logic>, <&vdd_gpu>, <&vcc_3v3>, <&vdda_0v9>, <&vcc_1v8>,
        <&vccio_acodec>, <&dcdc_boost>, <&otg_switch>,
        <&sleep_sta_ctl>;
    rockchip,regulator-on-in-mem-lite =
        <&vcc_ddr>, <&vdda0v9_pmu>, <&vcca1v8_pmu>, <&vcc1v8_dvp>, <&vccio_sd>, <&vcc3v3_pmu>;

    rockchip,regulator-off-in-mem =
        <&vdd_cpu>, <&vdd_logic>, <&vdd_gpu>, <&vcc_3v3>, <&vdda_0v9>, <&vcc_1v8>,
        <&vccio_acodec>, <&vccio_sd>, <&vcc1v8_dvp>, <&dcdc_boost>, <&otg_switch>,
        <&sleep_sta_ctl>;
    rockchip,regulator-on-in-mem =
        <&vcc_ddr>, <&vdda0v9_pmu>, <&vcca1v8_pmu>, <&vcc3v3_pmu>;

    rockchip,regulator-off-in-mem-ultra =
        <&vdd_logic>, <&vdd_gpu>, <&vcc_ddr>, <&vcc_3v3>, <&vdda_0v9>, <&vcc_1v8>,
        <&vdda0v9_pmu>, <&vcca1v8_pmu>, <&vcc3v3_pmu>, <&vccio_acodec>, <&vccio_sd>,
        <&vcc1v8_dvp>, <&dcdc_boost>, <&otg_switch>;
    rockchip,regulator-on-in-mem-ultra = <&vdd_cpu>, <&sleep_sta_ctl>;
};

&saradc {
    status = "okay";
    vref-supply = <&vcc_1v8>;
};

&sdhci {
    bus-width = <8>;
    supports-emmc;
    non-removable;
    keep-power-in-suspend;
    max-frequency = <200000000>;
    status = "okay";
};

&sdmmc1 {
    max-frequency = <150000000>;
    supports-sdio;
    bus-width = <4>;
    disable-wp;
    cap-sd-highspeed;
    cap-sdio-irq;
    keep-power-in-suspend;
    mmc-pwrseq = <&sdio_pwrseq>;
    non-removable;
    pinctrl-names = "default";
    pinctrl-0 = <&sdmmc1_bus4 &sdmmc1_cmd &sdmmc1_clk>;
    sd-uhs-sdr104;
    rockchip,default-sample-phase = <90>;
    status = "okay";
};

&tsadc {
    status = "okay";
};

&uart1 {
    status = "okay";
    pinctrl-names = "default";
    pinctrl-0 = <&uart1m0_xfer &uart1m0_ctsn>;
};

&pdm {
    status = "okay";
    rockchip,path-map = <1 0 2 3>;
    #sound-dai-cells = <0>;
    pinctrl-names = "default";
    pinctrl-0 = <&pdmm0_clk1 &pdmm0_sdi1>;
};

&u2phy0_otg {
    status = "okay";
};

&usb2phy0 {
    status = "okay";
    //extcon = <&usbc0>;
};

&usbdrd_dwc3 {
    status = "okay";
    //extcon = <&usbc0>;
};

&usbdrd30 {
    status = "okay";
};

&vdpu {
    status = "okay";
};

&vdpu_mmu {
    status = "okay";
};

&vepu {
    status = "okay";
};

&vepu_mmu {
    status = "okay";
};

&vop {
    status = "okay";
};

&vop_mmu {
    status = "okay";
};
